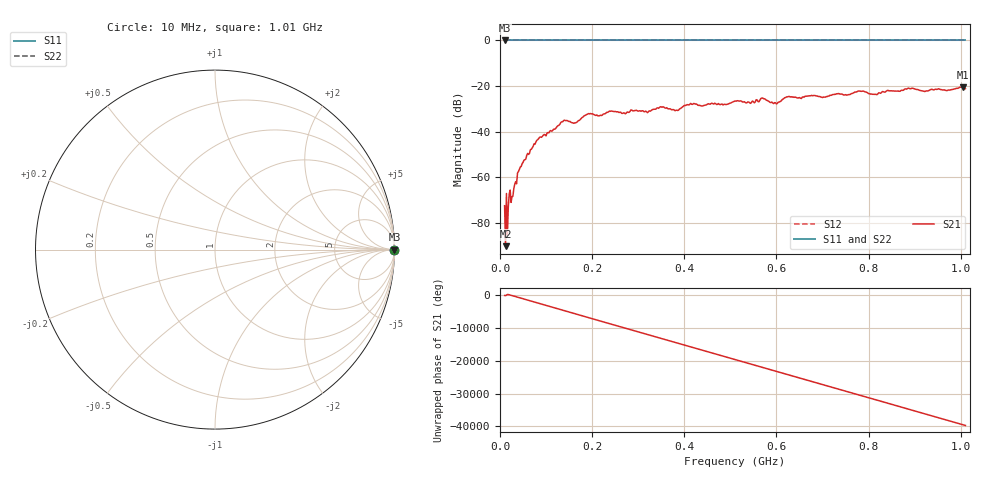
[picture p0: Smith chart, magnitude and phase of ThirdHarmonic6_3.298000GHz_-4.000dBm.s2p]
! 8/17/2025 10:16:24 AM
! C:\ANRITSUVNA\TEMP\TEMP.S2P
! CHANNEL.1
! TR.MEASUREMENT
! RAW.DATA
! RF.CORRECTION.OFF
! AVERAGING.OFF
! IF.BANDWIDTH: 5KHZ
! SWEEPTYPE:  FREQ.SWEEP(Linear)
! Reference Plane Port Info
! PORT:  PORT1  PORT2
! DISTANCE:  0  m  0  m
! TIME:  0  s  0  s
! PHASE.OFFSET:  0  deg.  0  deg.
! LOSS:  0  dB  0  dB
! REF.LOSS:  0  dB  0  dB
! REF.FREQ:  0  Hz  0  Hz
! Power Info
! POWER:  -20  dBm  -20  dBm
! EFF.POWER:  -20  dBm  -20  dBm
! SOURCE.ATTEN:  0  dB  0  dB
! TEST.ATTEN:  0  dB  0  dB
# GHZ S RI R 50.0
! FREQ.GHZ  S11RE  S11IM  S21RE  S21IM  S12RE  S12IM  S22RE  S22IM
!; PortSelection: Port_12
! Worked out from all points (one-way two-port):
!   501 points, 10 MHz to 1.01 GHz, reference 50 ohm
!   highest |S21| = -20.50 dB at 1.004 GHz (marker M1); lowest = -90.4 dB at 12 MHz (marker M2)
!   lowest |S11| = 0.0 dB at 10 MHz (marker M3)
!   |S11| at or under -10 dB: nowhere
!   |S22| runs from 0.0 to 0.0 dB; largest |S21 - S12| = 1.1
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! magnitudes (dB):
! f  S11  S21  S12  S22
! 10 MHz  0.0  -72.6  0.0  0.0
! 12 MHz  0.0  -90.4  0.0  0.0
! 28 MHz  0.0  -68.5  0.0  0.0
! 42 MHz  0.0  -56.7  0.0  0.0
! 82 MHz  0.0  -43.6  0.0  0.0
! 136 MHz  0.0  -35.7  0.0  0.0
! 162 MHz  0.0  -36.2  0.0  0.0
! 178 MHz  0.0  -33.9  0.0  0.0
! 194 MHz  0.0  -32.3  0.0  0.0
! 318 MHz  0.0  -31.3  0.0  0.0
! 344 MHz  0.0  -29.8  0.0  0.0
! 384 MHz  0.0  -30.6  0.0  0.0
! 410 MHz  0.0  -28.3  0.0  0.0
! 510 MHz  0.0  -26.6  0.0  0.0
! 570 MHz  0.0  -25.3  0.0  0.0
! 598 MHz  0.0  -27.4  0.0  0.0
! 624 MHz  0.0  -24.8  0.0  0.0
! 678 MHz  0.0  -24.3  0.0  0.0
! 814 MHz  0.0  -23.6  0.0  0.0
! 844 MHz  0.0  -22.1  0.0  0.0
! 1.004 GHz  0.0  -20.5  0.0  0.0
! 1.01 GHz  0.0  -21.2  0.0  0.0
